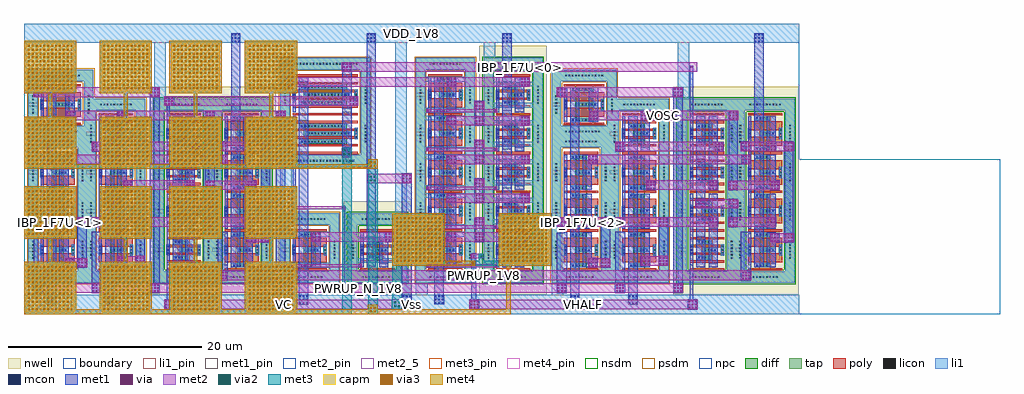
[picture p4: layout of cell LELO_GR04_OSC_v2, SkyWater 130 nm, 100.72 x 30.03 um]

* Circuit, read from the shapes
.subckt LELO_GR04_OSC_v2 IBP_1F7U<0> IBP_1F7U<1> IBP_1F7U<2> PWRUP_1V8 PWRUP_N_1V8 VC VDD_1V8 VHALF VOSC Vss
XM1 IBP_1F7U<1> PWRUP_N_1V8 Vss Vss sky130_fd_pr__nfet_01v8 w=0.96 l=0.94 m=2
XM2 IBP_1F7U<1> IBP_1F7U<1> Vss Vss sky130_fd_pr__nfet_01v8 w=0.96 l=0.94 m=2
XM3 LELO_GR04_COMP_9/JNWATR_NCH_2C5F0_25/D IBP_1F7U<1> Vss Vss sky130_fd_pr__nfet_01v8 w=0.96 l=0.94 m=2
XM4 LELO_GR04_INV_23/VIN PWRUP_N_1V8 Vss Vss sky130_fd_pr__nfet_01v8 w=1.6 l=0.94 m=2
XM5 LELO_GR04_COMP_9/JNWATR_NCH_2C5F0_10/D PWRUP_N_1V8 Vss Vss sky130_fd_pr__nfet_01v8 w=0.96 l=0.94 m=2
XM6 LELO_GR04_COMP_9/JNWATR_NCH_2C5F0_10/D LELO_GR04_COMP_9/JNWATR_NCH_2C5F0_10/D Vss Vss sky130_fd_pr__nfet_01v8 w=0.96 l=0.94 m=2
XM7 LELO_GR04_COMP_9/JNWATR_NCH_2C5F0_17/D LELO_GR04_COMP_9/JNWATR_NCH_2C5F0_10/D Vss Vss sky130_fd_pr__nfet_01v8 w=0.96 l=0.94 m=2
XM8 LELO_GR04_INV_23/VIN LELO_GR04_COMP_9/JNWATR_NCH_2C5F0_17/D Vss Vss sky130_fd_pr__nfet_01v8 w=0.96 l=0.22 m=2
XM9 LELO_GR04_INV_20/VIN LELO_GR04_INV_23/VIN Vss Vss sky130_fd_pr__nfet_01v8 w=0.96 l=0.94 m=2
XM10 IBP_1F7U<0> PWRUP_N_1V8 Vss Vss sky130_fd_pr__nfet_01v8 w=4.16 l=0.22 m=2
XM11 IBP_1F7U<0> JNWATR_NCH_12C1F2_6/G Vss Vss sky130_fd_pr__nfet_01v8 w=4.16 l=0.22 m=2
XM12 LELO_GR04_INV_17/VIN LELO_GR04_INV_20/VIN Vss Vss sky130_fd_pr__nfet_01v8 w=0.96 l=0.94 m=2
XM13 LELO_GR04_INV_18/VIN LELO_GR04_INV_17/VIN Vss Vss sky130_fd_pr__nfet_01v8 w=0.96 l=0.94 m=2
XM14 LELO_GR04_INV_11/VIN LELO_GR04_INV_18/VIN Vss Vss sky130_fd_pr__nfet_01v8 w=0.96 l=0.94 m=2
XM15 LELO_GR04_INV_22/VIN LELO_GR04_INV_11/VIN Vss Vss sky130_fd_pr__nfet_01v8 w=0.96 l=0.94 m=2
XM16 JNWATR_NCH_12C1F2_6/G LELO_GR04_INV_22/VIN Vss Vss sky130_fd_pr__nfet_01v8 w=0.96 l=0.94 m=2
XM17 IBP_1F7U<2> PWRUP_N_1V8 Vss Vss sky130_fd_pr__nfet_01v8 w=0.96 l=0.94 m=2
XM18 IBP_1F7U<2> IBP_1F7U<2> Vss Vss sky130_fd_pr__nfet_01v8 w=0.96 l=0.94 m=2
XM19 LELO_GR04_COMP_25/JNWATR_NCH_2C5F0_25/D IBP_1F7U<2> Vss Vss sky130_fd_pr__nfet_01v8 w=0.96 l=0.94 m=2
XM20 VOSC PWRUP_N_1V8 Vss Vss sky130_fd_pr__nfet_01v8 w=1.6 l=0.94 m=2
XM21 LELO_GR04_COMP_25/JNWATR_NCH_2C5F0_10/D PWRUP_N_1V8 Vss Vss sky130_fd_pr__nfet_01v8 w=0.96 l=0.94 m=2
XM22 LELO_GR04_COMP_25/JNWATR_NCH_2C5F0_10/D LELO_GR04_COMP_25/JNWATR_NCH_2C5F0_10/D Vss Vss sky130_fd_pr__nfet_01v8 w=0.96 l=0.94 m=2
XM23 LELO_GR04_COMP_25/JNWATR_NCH_2C5F0_17/D LELO_GR04_COMP_25/JNWATR_NCH_2C5F0_10/D Vss Vss sky130_fd_pr__nfet_01v8 w=0.96 l=0.94 m=2
XM24 VOSC LELO_GR04_COMP_25/JNWATR_NCH_2C5F0_17/D Vss Vss sky130_fd_pr__nfet_01v8 w=0.96 l=0.22 m=2
XM25 LELO_GR04_COMP_9/JNWATR_NCH_2C5F0_10/D VC LELO_GR04_COMP_9/JNWATR_PCH_2C5F0_15/D VDD_1V8 sky130_fd_pr__pfet_01v8 w=0.96 l=0.22 m=4
XM26 LELO_GR04_COMP_9/JNWATR_NCH_2C5F0_17/D IBP_1F7U<0> LELO_GR04_COMP_9/JNWATR_PCH_2C5F0_15/D VDD_1V8 sky130_fd_pr__pfet_01v8 w=0.96 l=0.22 m=4
XM27 LELO_GR04_COMP_9/JNWATR_NCH_2C5F0_25/D PWRUP_1V8 VDD_1V8 VDD_1V8 sky130_fd_pr__pfet_01v8 w=0.96 l=0.94 m=2
XM28 LELO_GR04_COMP_9/JNWATR_PCH_2C5F0_15/D LELO_GR04_COMP_9/JNWATR_NCH_2C5F0_25/D VDD_1V8 VDD_1V8 sky130_fd_pr__pfet_01v8 w=0.96 l=0.94 m=2
XM29 LELO_GR04_INV_23/VIN LELO_GR04_COMP_9/JNWATR_NCH_2C5F0_25/D VDD_1V8 VDD_1V8 sky130_fd_pr__pfet_01v8 w=0.96 l=0.94 m=2
XM30 LELO_GR04_COMP_9/JNWATR_NCH_2C5F0_25/D LELO_GR04_COMP_9/JNWATR_NCH_2C5F0_25/D VDD_1V8 VDD_1V8 sky130_fd_pr__pfet_01v8 w=0.96 l=0.94 m=2
XM31 LELO_GR04_INV_20/VIN LELO_GR04_INV_23/VIN VDD_1V8 VDD_1V8 sky130_fd_pr__pfet_01v8 w=0.96 l=0.22 m=2
XM32 LELO_GR04_INV_17/VIN LELO_GR04_INV_20/VIN VDD_1V8 VDD_1V8 sky130_fd_pr__pfet_01v8 w=0.96 l=0.22 m=2
XM33 LELO_GR04_INV_18/VIN LELO_GR04_INV_17/VIN VDD_1V8 VDD_1V8 sky130_fd_pr__pfet_01v8 w=0.96 l=0.22 m=2
XM34 LELO_GR04_INV_11/VIN LELO_GR04_INV_18/VIN VDD_1V8 VDD_1V8 sky130_fd_pr__pfet_01v8 w=0.96 l=0.22 m=2
XM35 LELO_GR04_INV_22/VIN LELO_GR04_INV_11/VIN VDD_1V8 VDD_1V8 sky130_fd_pr__pfet_01v8 w=0.96 l=0.22 m=2
XM36 JNWATR_NCH_12C1F2_6/G LELO_GR04_INV_22/VIN VDD_1V8 VDD_1V8 sky130_fd_pr__pfet_01v8 w=0.96 l=0.22 m=2
XM37 LELO_GR04_COMP_25/JNWATR_NCH_2C5F0_10/D VHALF LELO_GR04_COMP_25/JNWATR_PCH_2C5F0_15/D VDD_1V8 sky130_fd_pr__pfet_01v8 w=0.96 l=0.22 m=4
XM38 LELO_GR04_COMP_25/JNWATR_NCH_2C5F0_17/D IBP_1F7U<0> LELO_GR04_COMP_25/JNWATR_PCH_2C5F0_15/D VDD_1V8 sky130_fd_pr__pfet_01v8 w=0.96 l=0.22 m=4
XM39 LELO_GR04_COMP_25/JNWATR_NCH_2C5F0_25/D PWRUP_1V8 VDD_1V8 VDD_1V8 sky130_fd_pr__pfet_01v8 w=0.96 l=0.94 m=2
XM40 LELO_GR04_COMP_25/JNWATR_PCH_2C5F0_15/D LELO_GR04_COMP_25/JNWATR_NCH_2C5F0_25/D VDD_1V8 VDD_1V8 sky130_fd_pr__pfet_01v8 w=0.96 l=0.94 m=2
XM41 VOSC LELO_GR04_COMP_25/JNWATR_NCH_2C5F0_25/D VDD_1V8 VDD_1V8 sky130_fd_pr__pfet_01v8 w=0.96 l=0.94 m=2
XM42 LELO_GR04_COMP_25/JNWATR_NCH_2C5F0_25/D LELO_GR04_COMP_25/JNWATR_NCH_2C5F0_25/D VDD_1V8 VDD_1V8 sky130_fd_pr__pfet_01v8 w=0.96 l=0.94 m=2
XC43 Vss IBP_1F7U<0> sky130_fd_pr__cap_mim_m3_1 w=5 l=5 m=16
XC44 VHALF VC sky130_fd_pr__cap_mim_m3_1 w=5 l=5
XC45 Vss VHALF sky130_fd_pr__cap_mim_m3_1 w=5 l=5
.ends

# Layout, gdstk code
import gdstk
lib = gdstk.Library(unit=1e-6, precision=1e-09)
def R(c, l, rs):  # rectangles x0, y0, x1, y1
    for r in rs: c.add(gdstk.rectangle(r[:2], r[2:], *l))
def A(c, l, x, y, w, h, nx, ny, dx, dy):  # array of equal rectangles
    R(c, l, [(x+i*dx, y+j*dy, x+i*dx+w, y+j*dy+h) for i in range(nx) for j in range(ny)])
nwell = (64, 20)
diff = (65, 20)
tap = (65, 44)
poly = (66, 20)
licon = (66, 44)
li1_pin = (67, 16)
li1 = (67, 20)
mcon = (67, 44)
met1_pin = (68, 16)
met1 = (68, 20)
via = (68, 44)
met2_5 = (69, 5)
met2_pin = (69, 16)
met2 = (69, 20)
via2 = (69, 44)
met3_pin = (70, 16)
met3 = (70, 20)
via3 = (70, 44)
met4_pin = (71, 16)
met4 = (71, 20)
capm = (89, 44)
nsdm = (93, 44)
psdm = (94, 20)
npc = (95, 20)
boundary = (235, 4)

jnwatr_nch_2ctapbot = lib.new_cell('JNWATR_NCH_2CTAPBOT')
R(jnwatr_nch_2ctapbot, tap, [(-0.48,0.6,5.6,1.8), (-0.48,1.8,0.48,2.6), (4.64,1.8,5.6,2.6)])
A(jnwatr_nch_2ctapbot, licon, 0.955, 1.115, 0.17, 0.17, 9, 1, 0.34, 0)
R(jnwatr_nch_2ctapbot, li1, [(-0.48,0.6,5.6,1.8), (-0.48,1.8,0.48,2.6), (4.64,1.8,5.6,2.6)])
R(jnwatr_nch_2ctapbot, psdm, [(-0.605,0.475,5.725,1.925), (-0.605,1.925,0.605,2.725), (4.515,1.925,5.725,2.725)])
R(jnwatr_nch_2ctapbot, boundary, [(0,0,5.12,2.4)])

jnwatr_nch_2ctaptop = lib.new_cell('JNWATR_NCH_2CTAPTOP')
R(jnwatr_nch_2ctaptop, tap, [(-0.48,-0.2,0.48,0.6), (4.64,-0.2,5.6,0.6), (-0.48,0.6,5.6,1.8)])
A(jnwatr_nch_2ctaptop, licon, 0.945, 1.115, 0.17, 0.17, 10, 1, 0.34, 0)
R(jnwatr_nch_2ctaptop, li1, [(-0.48,-0.2,0.48,0.6), (4.64,-0.2,5.6,0.6), (-0.48,0.6,5.6,1.8)])
R(jnwatr_nch_2ctaptop, psdm, [(-0.605,-0.325,0.605,0.475), (4.515,-0.325,5.725,0.475), (-0.605,0.475,5.725,1.925)])
R(jnwatr_nch_2ctaptop, boundary, [(0,0,5.12,2.4)])

jnwatr_nch_12ctapbot = lib.new_cell('JNWATR_NCH_12CTAPBOT')
R(jnwatr_nch_12ctapbot, tap, [(-0.48,0.6,8.8,1.8), (-0.48,1.8,0.48,2.6), (7.84,1.8,8.8,2.6)])
A(jnwatr_nch_12ctapbot, licon, 0.855, 1.115, 0.17, 0.17, 19, 1, 0.34, 0)
R(jnwatr_nch_12ctapbot, li1, [(-0.48,0.6,8.8,1.8), (-0.48,1.8,0.48,2.6), (7.84,1.8,8.8,2.6)])
R(jnwatr_nch_12ctapbot, psdm, [(-0.605,0.475,8.925,1.925), (-0.605,1.925,0.605,2.725), (7.715,1.925,8.925,2.725)])
R(jnwatr_nch_12ctapbot, boundary, [(0,0,8.32,2.4)])

jnwatr_nch_12ctaptop = lib.new_cell('JNWATR_NCH_12CTAPTOP')
R(jnwatr_nch_12ctaptop, tap, [(-0.48,-0.2,0.48,0.6), (7.84,-0.2,8.8,0.6), (-0.48,0.6,8.8,1.8)])
A(jnwatr_nch_12ctaptop, licon, 0.845, 1.115, 0.17, 0.17, 20, 1, 0.34, 0)
R(jnwatr_nch_12ctaptop, li1, [(-0.48,-0.2,0.48,0.6), (7.84,-0.2,8.8,0.6), (-0.48,0.6,8.8,1.8)])
R(jnwatr_nch_12ctaptop, psdm, [(-0.605,-0.325,0.605,0.475), (7.715,-0.325,8.925,0.475), (-0.605,0.475,8.925,1.925)])
R(jnwatr_nch_12ctaptop, boundary, [(0,0,8.32,2.4)])

jnwatr_pch_2ctaptop = lib.new_cell('JNWATR_PCH_2CTAPTOP')
R(jnwatr_pch_2ctaptop, nwell, [(-0.92,-0.64,6.04,3.04)])
R(jnwatr_pch_2ctaptop, tap, [(-0.48,-0.2,0.48,0.6), (4.64,-0.2,5.6,0.6), (-0.48,0.6,5.6,1.8)])
A(jnwatr_pch_2ctaptop, licon, 0.945, 1.115, 0.17, 0.17, 10, 1, 0.34, 0)
R(jnwatr_pch_2ctaptop, li1, [(-0.48,-0.2,0.48,0.6), (4.64,-0.2,5.6,0.6), (-0.48,0.6,5.6,1.8)])
R(jnwatr_pch_2ctaptop, nsdm, [(-0.605,-0.325,0.605,0.475), (4.515,-0.325,5.725,0.475), (-0.605,0.475,5.725,1.925)])
R(jnwatr_pch_2ctaptop, boundary, [(0,0,5.12,2.4)])

jnwatr_nch_12c1f2 = lib.new_cell('JNWATR_NCH_12C1F2')
R(jnwatr_nch_12c1f2, diff, [(2.08,1,6.24,3)])
R(jnwatr_nch_12c1f2, tap, [(-0.48,-0.2,0.48,4.2), (7.84,-0.2,8.8,4.2)])
A(jnwatr_nch_12c1f2, poly, 0.8, -0.11, 6.72, 0.22, 1, 6, 0, 0.8)
R(jnwatr_nch_12c1f2, poly, [(0.8,1.4,1.12,1.49), (7.2,1.4,7.52,1.49), (0.8,1.71,1.12,2.29), (7.2,1.71,7.52,2.29), (0.8,2.51,1.12,2.6), (7.2,2.51,7.52,2.6)])
A(jnwatr_nch_12c1f2, licon, -0.085, 1.065, 0.17, 0.17, 1, 6, 0, 0.34)
A(jnwatr_nch_12c1f2, licon, 8.235, 1.065, 0.17, 0.17, 1, 6, 0, 0.34)
A(jnwatr_nch_12c1f2, licon, 2.375, 1.115, 0.17, 0.17, 11, 3, 0.34, 0.8)
A(jnwatr_nch_12c1f2, licon, 0.87, 1.575, 0.17, 0.17, 1, 3, 0, 0.34)
A(jnwatr_nch_12c1f2, licon, 7.27, 1.575, 0.17, 0.17, 1, 3, 0, 0.34)
R(jnwatr_nch_12c1f2, li1_pin, [(-0.48,1.8,0.48,2.2)])
R(jnwatr_nch_12c1f2, li1, [(-0.48,-0.2,0.48,4.2), (7.84,-0.2,8.8,4.2), (1.44,1,6.24,1.4), (0.8,1.4,1.12,2.6), (7.2,1.4,7.52,2.6), (2.08,1.8,6.88,2.2), (1.44,2.6,6.24,3)])
A(jnwatr_nch_12c1f2, mcon, 0.87, 1.555, 0.17, 0.17, 1, 3, 0, 0.36)
R(jnwatr_nch_12c1f2, mcon, [(1.655,1.115,1.825,1.285), (2.015,1.115,2.185,1.285), (6.135,1.915,6.305,2.085), (6.495,1.915,6.665,2.085), (1.655,2.715,1.825,2.885), (2.015,2.715,2.185,2.885)])
R(jnwatr_nch_12c1f2, met1_pin, [(5.92,0.2,6.88,0.6), (0.8,1.8,1.12,2.2), (1.44,3,2.4,3.4)])
R(jnwatr_nch_12c1f2, met1, [(0.8,0.2,1.12,3.8), (1.44,0.2,2.4,3.8), (5.92,0.2,6.88,3.8)])
R(jnwatr_nch_12c1f2, nsdm, [(1.955,0.875,6.365,3.125)])
R(jnwatr_nch_12c1f2, psdm, [(-0.605,-0.325,0.605,4.325), (7.715,-0.325,8.925,4.325)])
R(jnwatr_nch_12c1f2, npc, [(0.77,1.475,1.14,2.525), (7.17,1.475,7.54,2.525)])
R(jnwatr_nch_12c1f2, boundary, [(0,0,8.32,4)])
jnwatr_nch_12c1f2.add(gdstk.Label('B', (0,2), layer=67, texttype=5))
jnwatr_nch_12c1f2.add(gdstk.Label('G', (0.96,2), layer=68, texttype=5))
jnwatr_nch_12c1f2.add(gdstk.Label('S', (1.92,3.2), layer=68, texttype=5))
jnwatr_nch_12c1f2.add(gdstk.Label('D', (6.4,0.4), layer=68, texttype=5))

jnwatr_nch_4ctapbot = lib.new_cell('JNWATR_NCH_4CTAPBOT')
R(jnwatr_nch_4ctapbot, tap, [(-0.48,0.6,6.24,1.8), (-0.48,1.8,0.48,2.6), (5.28,1.8,6.24,2.6)])
A(jnwatr_nch_4ctapbot, licon, 0.935, 1.115, 0.17, 0.17, 11, 1, 0.34, 0)
R(jnwatr_nch_4ctapbot, li1, [(-0.48,0.6,6.24,1.8), (-0.48,1.8,0.48,2.6), (5.28,1.8,6.24,2.6)])
R(jnwatr_nch_4ctapbot, psdm, [(-0.605,0.475,6.365,1.925), (-0.605,1.925,0.605,2.725), (5.155,1.925,6.365,2.725)])
R(jnwatr_nch_4ctapbot, boundary, [(0,0,5.76,2.4)])

jnwatr_pch_2ctapbot = lib.new_cell('JNWATR_PCH_2CTAPBOT')
R(jnwatr_pch_2ctapbot, nwell, [(-0.92,-0.64,6.04,3.04)])
R(jnwatr_pch_2ctapbot, tap, [(-0.48,0.6,5.6,1.8), (-0.48,1.8,0.48,2.6), (4.64,1.8,5.6,2.6)])
A(jnwatr_pch_2ctapbot, licon, 0.955, 1.115, 0.17, 0.17, 9, 1, 0.34, 0)
R(jnwatr_pch_2ctapbot, li1, [(-0.48,0.6,5.6,1.8), (-0.48,1.8,0.48,2.6), (4.64,1.8,5.6,2.6)])
R(jnwatr_pch_2ctapbot, nsdm, [(-0.605,0.475,5.725,1.925), (-0.605,1.925,0.605,2.725), (4.515,1.925,5.725,2.725)])
R(jnwatr_pch_2ctapbot, boundary, [(0,0,5.12,2.4)])

jnwatr_nch_2c5f0 = lib.new_cell('JNWATR_NCH_2C5F0')
R(jnwatr_nch_2c5f0, diff, [(2.08,0.2,3.04,3.8)])
R(jnwatr_nch_2c5f0, tap, [(-0.48,-0.2,0.48,4.2), (4.64,-0.2,5.6,4.2)])
R(jnwatr_nch_2c5f0, poly, [(0.8,-0.11,4.32,0.11), (0.8,0.73,4.32,1.67), (0.8,1.67,1.12,2.33), (4,1.67,4.32,2.33), (0.8,2.33,4.32,3.27), (0.8,3.89,4.32,4.11)])
A(jnwatr_nch_2c5f0, licon, 2.305, 0.315, 0.17, 0.17, 1, 3, 0, 1.6)
A(jnwatr_nch_2c5f0, licon, 2.645, 0.315, 0.17, 0.17, 1, 3, 0, 1.6)
A(jnwatr_nch_2c5f0, licon, -0.085, 1.065, 0.17, 0.17, 1, 6, 0, 0.34)
A(jnwatr_nch_2c5f0, licon, 5.035, 1.065, 0.17, 0.17, 1, 6, 0, 0.34)
A(jnwatr_nch_2c5f0, licon, 0.87, 1.575, 0.17, 0.17, 1, 3, 0, 0.34)
A(jnwatr_nch_2c5f0, licon, 4.07, 1.575, 0.17, 0.17, 1, 3, 0, 0.34)
R(jnwatr_nch_2c5f0, li1_pin, [(-0.48,1.8,0.48,2.2)])
R(jnwatr_nch_2c5f0, li1, [(-0.48,-0.2,0.48,4.2), (4.64,-0.2,5.6,4.2), (1.44,0.2,3.04,0.6), (0.8,1.4,1.12,2.6), (4,1.4,4.32,2.6), (2.08,1.8,3.68,2.2), (1.44,3.4,3.04,3.8)])
A(jnwatr_nch_2c5f0, mcon, 0.87, 1.555, 0.17, 0.17, 1, 3, 0, 0.36)
R(jnwatr_nch_2c5f0, mcon, [(1.655,0.315,1.825,0.485), (2.015,0.315,2.185,0.485), (2.935,1.915,3.105,2.085), (3.295,1.915,3.465,2.085), (1.655,3.515,1.825,3.685), (2.015,3.515,2.185,3.685)])
R(jnwatr_nch_2c5f0, met1_pin, [(2.72,0.2,3.68,0.6), (0.8,1.8,1.12,2.2), (1.44,3,2.4,3.4)])
R(jnwatr_nch_2c5f0, met1, [(0.8,0.2,1.12,3.8), (1.44,0.2,2.4,3.8), (2.72,0.2,3.68,3.8)])
R(jnwatr_nch_2c5f0, nsdm, [(1.955,0.075,3.165,3.925)])
R(jnwatr_nch_2c5f0, psdm, [(-0.605,-0.325,0.605,4.325), (4.515,-0.325,5.725,4.325)])
R(jnwatr_nch_2c5f0, npc, [(0.77,1.475,1.14,2.525), (3.97,1.475,4.34,2.525)])
R(jnwatr_nch_2c5f0, boundary, [(0,0,5.12,4)])
jnwatr_nch_2c5f0.add(gdstk.Label('B', (0,2), layer=67, texttype=5))
jnwatr_nch_2c5f0.add(gdstk.Label('G', (0.96,2), layer=68, texttype=5))
jnwatr_nch_2c5f0.add(gdstk.Label('S', (1.92,3.2), layer=68, texttype=5))
jnwatr_nch_2c5f0.add(gdstk.Label('D', (3.2,0.4), layer=68, texttype=5))

jnwatr_nch_4c5f0 = lib.new_cell('JNWATR_NCH_4C5F0')
R(jnwatr_nch_4c5f0, diff, [(2.08,0.2,3.68,3.8)])
R(jnwatr_nch_4c5f0, tap, [(-0.48,-0.2,0.48,4.2), (5.28,-0.2,6.24,4.2)])
R(jnwatr_nch_4c5f0, poly, [(0.8,-0.11,4.96,0.11), (0.8,0.73,4.96,1.67), (0.8,1.67,1.12,2.33), (4.64,1.67,4.96,2.33), (0.8,2.33,4.96,3.27), (0.8,3.89,4.96,4.11)])
A(jnwatr_nch_4c5f0, licon, 2.285, 0.315, 0.17, 0.17, 4, 3, 0.34, 1.6)
A(jnwatr_nch_4c5f0, licon, -0.085, 1.065, 0.17, 0.17, 1, 6, 0, 0.34)
A(jnwatr_nch_4c5f0, licon, 5.675, 1.065, 0.17, 0.17, 1, 6, 0, 0.34)
A(jnwatr_nch_4c5f0, licon, 0.87, 1.575, 0.17, 0.17, 1, 3, 0, 0.34)
A(jnwatr_nch_4c5f0, licon, 4.71, 1.575, 0.17, 0.17, 1, 3, 0, 0.34)
R(jnwatr_nch_4c5f0, li1_pin, [(-0.48,1.8,0.48,2.2)])
R(jnwatr_nch_4c5f0, li1, [(-0.48,-0.2,0.48,4.2), (5.28,-0.2,6.24,4.2), (1.44,0.2,3.68,0.6), (0.8,1.4,1.12,2.6), (4.64,1.4,4.96,2.6), (2.08,1.8,4.32,2.2), (1.44,3.4,3.68,3.8)])
A(jnwatr_nch_4c5f0, mcon, 0.87, 1.555, 0.17, 0.17, 1, 3, 0, 0.36)
R(jnwatr_nch_4c5f0, mcon, [(1.655,0.315,1.825,0.485), (2.015,0.315,2.185,0.485), (3.575,1.915,3.745,2.085), (3.935,1.915,4.105,2.085), (1.655,3.515,1.825,3.685), (2.015,3.515,2.185,3.685)])
R(jnwatr_nch_4c5f0, met1_pin, [(3.36,0.2,4.32,0.6), (0.8,1.8,1.12,2.2), (1.44,3,2.4,3.4)])
R(jnwatr_nch_4c5f0, met1, [(0.8,0.2,1.12,3.8), (1.44,0.2,2.4,3.8), (3.36,0.2,4.32,3.8)])
R(jnwatr_nch_4c5f0, nsdm, [(1.955,0.075,3.805,3.925)])
R(jnwatr_nch_4c5f0, psdm, [(-0.605,-0.325,0.605,4.325), (5.155,-0.325,6.365,4.325)])
R(jnwatr_nch_4c5f0, npc, [(0.77,1.475,1.14,2.525), (4.61,1.475,4.98,2.525)])
R(jnwatr_nch_4c5f0, boundary, [(0,0,5.76,4)])
jnwatr_nch_4c5f0.add(gdstk.Label('B', (0,2), layer=67, texttype=5))
jnwatr_nch_4c5f0.add(gdstk.Label('G', (0.96,2), layer=68, texttype=5))
jnwatr_nch_4c5f0.add(gdstk.Label('S', (1.92,3.2), layer=68, texttype=5))
jnwatr_nch_4c5f0.add(gdstk.Label('D', (3.84,0.4), layer=68, texttype=5))

jnwatr_nch_4ctaptop = lib.new_cell('JNWATR_NCH_4CTAPTOP')
R(jnwatr_nch_4ctaptop, tap, [(-0.48,-0.2,0.48,0.6), (5.28,-0.2,6.24,0.6), (-0.48,0.6,6.24,1.8)])
A(jnwatr_nch_4ctaptop, licon, 0.925, 1.115, 0.17, 0.17, 12, 1, 0.34, 0)
R(jnwatr_nch_4ctaptop, li1, [(-0.48,-0.2,0.48,0.6), (5.28,-0.2,6.24,0.6), (-0.48,0.6,6.24,1.8)])
R(jnwatr_nch_4ctaptop, psdm, [(-0.605,-0.325,0.605,0.475), (5.155,-0.325,6.365,0.475), (-0.605,0.475,6.365,1.925)])
R(jnwatr_nch_4ctaptop, boundary, [(0,0,5.76,2.4)])

jnwatr_pch_2c5f0 = lib.new_cell('JNWATR_PCH_2C5F0')
R(jnwatr_pch_2c5f0, nwell, [(-0.92,-0.64,6.04,4.64)])
R(jnwatr_pch_2c5f0, diff, [(2.08,0.2,3.04,3.8)])
R(jnwatr_pch_2c5f0, tap, [(-0.48,-0.2,0.48,4.2), (4.64,-0.2,5.6,4.2)])
R(jnwatr_pch_2c5f0, poly, [(0.8,-0.11,4.32,0.11), (0.8,0.73,4.32,1.67), (0.8,1.67,1.12,2.33), (4,1.67,4.32,2.33), (0.8,2.33,4.32,3.27), (0.8,3.89,4.32,4.11)])
A(jnwatr_pch_2c5f0, licon, 2.305, 0.315, 0.17, 0.17, 1, 3, 0, 1.6)
A(jnwatr_pch_2c5f0, licon, 2.645, 0.315, 0.17, 0.17, 1, 3, 0, 1.6)
A(jnwatr_pch_2c5f0, licon, -0.085, 1.065, 0.17, 0.17, 1, 6, 0, 0.34)
A(jnwatr_pch_2c5f0, licon, 5.035, 1.065, 0.17, 0.17, 1, 6, 0, 0.34)
A(jnwatr_pch_2c5f0, licon, 0.87, 1.575, 0.17, 0.17, 1, 3, 0, 0.34)
A(jnwatr_pch_2c5f0, licon, 4.07, 1.575, 0.17, 0.17, 1, 3, 0, 0.34)
R(jnwatr_pch_2c5f0, li1_pin, [(-0.48,1.8,0.48,2.2)])
R(jnwatr_pch_2c5f0, li1, [(-0.48,-0.2,0.48,4.2), (4.64,-0.2,5.6,4.2), (1.44,0.2,3.04,0.6), (0.8,1.4,1.12,2.6), (4,1.4,4.32,2.6), (2.08,1.8,3.68,2.2), (1.44,3.4,3.04,3.8)])
A(jnwatr_pch_2c5f0, mcon, 0.87, 1.555, 0.17, 0.17, 1, 3, 0, 0.36)
R(jnwatr_pch_2c5f0, mcon, [(1.655,0.315,1.825,0.485), (2.015,0.315,2.185,0.485), (2.935,1.915,3.105,2.085), (3.295,1.915,3.465,2.085), (1.655,3.515,1.825,3.685), (2.015,3.515,2.185,3.685)])
R(jnwatr_pch_2c5f0, met1_pin, [(2.72,0.2,3.68,0.6), (0.8,1.8,1.12,2.2), (1.44,3,2.4,3.4)])
R(jnwatr_pch_2c5f0, met1, [(0.8,0.2,1.12,3.8), (1.44,0.2,2.4,3.8), (2.72,0.2,3.68,3.8)])
R(jnwatr_pch_2c5f0, nsdm, [(-0.605,-0.325,0.605,4.325), (4.515,-0.325,5.725,4.325)])
R(jnwatr_pch_2c5f0, psdm, [(1.955,0.075,3.165,3.925)])
R(jnwatr_pch_2c5f0, npc, [(0.77,1.475,1.14,2.525), (3.97,1.475,4.34,2.525)])
R(jnwatr_pch_2c5f0, boundary, [(0,0,5.12,4)])
jnwatr_pch_2c5f0.add(gdstk.Label('B', (0,2), layer=67, texttype=5))
jnwatr_pch_2c5f0.add(gdstk.Label('G', (0.96,2), layer=68, texttype=5))
jnwatr_pch_2c5f0.add(gdstk.Label('S', (1.92,3.2), layer=68, texttype=5))
jnwatr_pch_2c5f0.add(gdstk.Label('D', (3.2,0.4), layer=68, texttype=5))

jnwatr_pch_2c1f2 = lib.new_cell('JNWATR_PCH_2C1F2')
R(jnwatr_pch_2c1f2, nwell, [(-0.92,-0.64,6.04,4.64)])
R(jnwatr_pch_2c1f2, diff, [(2.08,1,3.04,3)])
R(jnwatr_pch_2c1f2, tap, [(-0.48,-0.2,0.48,4.2), (4.64,-0.2,5.6,4.2)])
A(jnwatr_pch_2c1f2, poly, 0.8, -0.11, 3.52, 0.22, 1, 6, 0, 0.8)
R(jnwatr_pch_2c1f2, poly, [(0.8,1.4,1.12,1.49), (4,1.4,4.32,1.49), (0.8,1.71,1.12,2.29), (4,1.71,4.32,2.29), (0.8,2.51,1.12,2.6), (4,2.51,4.32,2.6)])
A(jnwatr_pch_2c1f2, licon, -0.085, 1.065, 0.17, 0.17, 1, 6, 0, 0.34)
A(jnwatr_pch_2c1f2, licon, 5.035, 1.065, 0.17, 0.17, 1, 6, 0, 0.34)
A(jnwatr_pch_2c1f2, licon, 2.305, 1.115, 0.17, 0.17, 1, 3, 0, 0.8)
A(jnwatr_pch_2c1f2, licon, 2.645, 1.115, 0.17, 0.17, 1, 3, 0, 0.8)
A(jnwatr_pch_2c1f2, licon, 0.87, 1.575, 0.17, 0.17, 1, 3, 0, 0.34)
A(jnwatr_pch_2c1f2, licon, 4.07, 1.575, 0.17, 0.17, 1, 3, 0, 0.34)
R(jnwatr_pch_2c1f2, li1_pin, [(-0.48,1.8,0.48,2.2)])
R(jnwatr_pch_2c1f2, li1, [(-0.48,-0.2,0.48,4.2), (4.64,-0.2,5.6,4.2), (1.44,1,3.04,1.4), (0.8,1.4,1.12,2.6), (4,1.4,4.32,2.6), (2.08,1.8,3.68,2.2), (1.44,2.6,3.04,3)])
A(jnwatr_pch_2c1f2, mcon, 0.87, 1.555, 0.17, 0.17, 1, 3, 0, 0.36)
R(jnwatr_pch_2c1f2, mcon, [(1.655,1.115,1.825,1.285), (2.015,1.115,2.185,1.285), (2.935,1.915,3.105,2.085), (3.295,1.915,3.465,2.085), (1.655,2.715,1.825,2.885), (2.015,2.715,2.185,2.885)])
R(jnwatr_pch_2c1f2, met1_pin, [(2.72,0.2,3.68,0.6), (0.8,1.8,1.12,2.2), (1.44,3,2.4,3.4)])
R(jnwatr_pch_2c1f2, met1, [(0.8,0.2,1.12,3.8), (1.44,0.2,2.4,3.8), (2.72,0.2,3.68,3.8)])
R(jnwatr_pch_2c1f2, nsdm, [(-0.605,-0.325,0.605,4.325), (4.515,-0.325,5.725,4.325)])
R(jnwatr_pch_2c1f2, psdm, [(1.955,0.875,3.165,3.125)])
R(jnwatr_pch_2c1f2, npc, [(0.77,1.475,1.14,2.525), (3.97,1.475,4.34,2.525)])
R(jnwatr_pch_2c1f2, boundary, [(0,0,5.12,4)])
jnwatr_pch_2c1f2.add(gdstk.Label('B', (0,2), layer=67, texttype=5))
jnwatr_pch_2c1f2.add(gdstk.Label('G', (0.96,2), layer=68, texttype=5))
jnwatr_pch_2c1f2.add(gdstk.Label('S', (1.92,3.2), layer=68, texttype=5))
jnwatr_pch_2c1f2.add(gdstk.Label('D', (3.2,0.4), layer=68, texttype=5))

jnwatr_nch_2c1f2 = lib.new_cell('JNWATR_NCH_2C1F2')
R(jnwatr_nch_2c1f2, diff, [(2.08,1,3.04,3)])
R(jnwatr_nch_2c1f2, tap, [(-0.48,-0.2,0.48,4.2), (4.64,-0.2,5.6,4.2)])
A(jnwatr_nch_2c1f2, poly, 0.8, -0.11, 3.52, 0.22, 1, 6, 0, 0.8)
R(jnwatr_nch_2c1f2, poly, [(0.8,1.4,1.12,1.49), (4,1.4,4.32,1.49), (0.8,1.71,1.12,2.29), (4,1.71,4.32,2.29), (0.8,2.51,1.12,2.6), (4,2.51,4.32,2.6)])
A(jnwatr_nch_2c1f2, licon, -0.085, 1.065, 0.17, 0.17, 1, 6, 0, 0.34)
A(jnwatr_nch_2c1f2, licon, 5.035, 1.065, 0.17, 0.17, 1, 6, 0, 0.34)
A(jnwatr_nch_2c1f2, licon, 2.305, 1.115, 0.17, 0.17, 1, 3, 0, 0.8)
A(jnwatr_nch_2c1f2, licon, 2.645, 1.115, 0.17, 0.17, 1, 3, 0, 0.8)
A(jnwatr_nch_2c1f2, licon, 0.87, 1.575, 0.17, 0.17, 1, 3, 0, 0.34)
A(jnwatr_nch_2c1f2, licon, 4.07, 1.575, 0.17, 0.17, 1, 3, 0, 0.34)
R(jnwatr_nch_2c1f2, li1_pin, [(-0.48,1.8,0.48,2.2)])
R(jnwatr_nch_2c1f2, li1, [(-0.48,-0.2,0.48,4.2), (4.64,-0.2,5.6,4.2), (1.44,1,3.04,1.4), (0.8,1.4,1.12,2.6), (4,1.4,4.32,2.6), (2.08,1.8,3.68,2.2), (1.44,2.6,3.04,3)])
A(jnwatr_nch_2c1f2, mcon, 0.87, 1.555, 0.17, 0.17, 1, 3, 0, 0.36)
R(jnwatr_nch_2c1f2, mcon, [(1.655,1.115,1.825,1.285), (2.015,1.115,2.185,1.285), (2.935,1.915,3.105,2.085), (3.295,1.915,3.465,2.085), (1.655,2.715,1.825,2.885), (2.015,2.715,2.185,2.885)])
R(jnwatr_nch_2c1f2, met1_pin, [(2.72,0.2,3.68,0.6), (0.8,1.8,1.12,2.2), (1.44,3,2.4,3.4)])
R(jnwatr_nch_2c1f2, met1, [(0.8,0.2,1.12,3.8), (1.44,0.2,2.4,3.8), (2.72,0.2,3.68,3.8)])
R(jnwatr_nch_2c1f2, nsdm, [(1.955,0.875,3.165,3.125)])
R(jnwatr_nch_2c1f2, psdm, [(-0.605,-0.325,0.605,4.325), (4.515,-0.325,5.725,4.325)])
R(jnwatr_nch_2c1f2, npc, [(0.77,1.475,1.14,2.525), (3.97,1.475,4.34,2.525)])
R(jnwatr_nch_2c1f2, boundary, [(0,0,5.12,4)])
jnwatr_nch_2c1f2.add(gdstk.Label('B', (0,2), layer=67, texttype=5))
jnwatr_nch_2c1f2.add(gdstk.Label('G', (0.96,2), layer=68, texttype=5))
jnwatr_nch_2c1f2.add(gdstk.Label('S', (1.92,3.2), layer=68, texttype=5))
jnwatr_nch_2c1f2.add(gdstk.Label('D', (3.2,0.4), layer=68, texttype=5))

lelo_gr04_comp = lib.new_cell('LELO_GR04_COMP')
R(lelo_gr04_comp, li1_pin, [(0,0,26,2), (0,28,26,30)])
R(lelo_gr04_comp, li1, [(0,0,26,2), (0.44,2,1.64,4.44), (13.44,21.04,14.64,28), (0,28,26,30)])
A(lelo_gr04_comp, mcon, 2.395, 1.055, 0.17, 0.17, 3, 3, 0.36, 0.36)
A(lelo_gr04_comp, mcon, 8.395, 1.055, 0.17, 0.17, 3, 3, 0.36, 0.36)
A(lelo_gr04_comp, mcon, 21.395, 28.05, 0.17, 0.17, 3, 3, 0.36, 0.36)
R(lelo_gr04_comp, met1_pin, [(14.72,5.04,15.04,12.44), (20.72,5.04,21.04,8.36), (14.72,13.04,15.04,20.44)])
R(lelo_gr04_comp, met1, [(2.36,0.99,3.32,22.98), (8.36,0.99,9.32,19.98), (1,2.17,2,8.4), (13,2.17,14,22.4), (6.97,2.2,8.03,3.2), (7,3.2,8,8.5), (5.52,4.81,6.48,10.01), (3.64,4.84,5.21,5.8), (16.64,4.84,17.6,9.02), (9.61,5.02,10.63,5.98), (11.49,5.02,12.51,5.98), (14.72,5.04,15.04,12.44), (20.72,5.04,21.04,8.36), (21.365,5.205,22.32,29.005), (11.52,5.98,12.48,10.01), (15.36,6.12,16.32,10.89), (23.02,7.39,23.98,8.41), (24.42,7.39,25.38,17.83), (1.72,8.84,2.04,8.99), (7.72,8.84,8.04,8.99), (1.02,8.99,2.04,10.01), (7.02,8.99,8.04,10.01), (18.72,8.99,19.68,11.91), (3.64,9.02,4.6,9.98), (9.64,9.02,10.6,9.98), (16.61,9.02,17.63,9.98), (22.61,9.02,23.63,9.98), (20.72,9.04,21.04,15.45), (1.72,10.01,2.04,16.36), (7.72,10.01,8.04,16.16), (15.32,10.89,16.32,11.91), (15.36,11.91,16.32,20.08), (18.72,12.79,19.68,21.01), (23.02,12.79,23.98,13.81), (9.64,12.84,11.21,13.8), (16.61,12.84,17.63,13.8), (14.72,13.04,15.04,20.44), (16.64,13.8,17.6,16.82), (20.02,15.45,21.04,16.47), (3.64,15.48,5.21,16.44), (20.72,16.47,21.04,16.81), (7.02,16.79,7.98,17.81), (20.02,16.81,21.04,17.83), (16.64,16.82,18.21,17.78), (22.61,16.84,23.63,17.8), (16.64,17.78,17.6,17.98), (20.72,17.83,21.04,20.26), (9.64,19.48,10.6,21.01), (4.32,19.99,5.28,21.01), (1,22.37,2,23.43), (12.97,22.4,14.03,23.4)])
A(lelo_gr04_comp, via, 1.105, 2.305, 0.15, 0.15, 3, 3, 0.32, 0.32)
A(lelo_gr04_comp, via, 7.105, 2.305, 0.15, 0.15, 3, 3, 0.32, 0.32)
A(lelo_gr04_comp, via, 13.105, 2.305, 0.15, 0.15, 3, 3, 0.32, 0.32)
A(lelo_gr04_comp, via, 4.305, 4.925, 0.15, 0.15, 3, 3, 0.32, 0.32)
A(lelo_gr04_comp, via, 5.605, 4.925, 0.15, 0.15, 3, 3, 0.32, 0.32)
A(lelo_gr04_comp, via, 9.725, 5.105, 0.15, 0.15, 3, 3, 0.32, 0.32)
A(lelo_gr04_comp, via, 11.605, 5.105, 0.15, 0.15, 3, 3, 0.32, 0.32)
A(lelo_gr04_comp, via, 23.105, 7.505, 0.15, 0.15, 3, 3, 0.32, 0.32)
A(lelo_gr04_comp, via, 24.505, 7.505, 0.15, 0.15, 3, 3, 0.32, 0.32)
A(lelo_gr04_comp, via, 1.105, 9.105, 0.15, 0.15, 3, 3, 0.32, 0.32)
A(lelo_gr04_comp, via, 3.725, 9.105, 0.15, 0.15, 3, 3, 0.32, 0.32)
A(lelo_gr04_comp, via, 5.605, 9.105, 0.15, 0.15, 3, 3, 0.32, 0.32)
A(lelo_gr04_comp, via, 7.105, 9.105, 0.15, 0.15, 3, 3, 0.32, 0.32)
A(lelo_gr04_comp, via, 9.725, 9.105, 0.15, 0.15, 3, 3, 0.32, 0.32)
A(lelo_gr04_comp, via, 11.605, 9.105, 0.15, 0.15, 3, 3, 0.32, 0.32)
A(lelo_gr04_comp, via, 16.725, 9.105, 0.15, 0.15, 3, 3, 0.32, 0.32)
A(lelo_gr04_comp, via, 18.805, 9.105, 0.15, 0.15, 3, 3, 0.32, 0.32)
A(lelo_gr04_comp, via, 22.725, 9.105, 0.15, 0.15, 3, 3, 0.32, 0.32)
A(lelo_gr04_comp, via, 15.405, 11.005, 0.15, 0.15, 3, 3, 0.32, 0.32)
A(lelo_gr04_comp, via, 18.805, 11.005, 0.15, 0.15, 3, 3, 0.32, 0.32)
A(lelo_gr04_comp, via, 18.805, 12.905, 0.15, 0.15, 3, 3, 0.32, 0.32)
A(lelo_gr04_comp, via, 23.105, 12.905, 0.15, 0.15, 3, 3, 0.32, 0.32)
A(lelo_gr04_comp, via, 10.305, 12.925, 0.15, 0.15, 3, 3, 0.32, 0.32)
A(lelo_gr04_comp, via, 16.725, 12.925, 0.15, 0.15, 3, 3, 0.32, 0.32)
A(lelo_gr04_comp, via, 4.305, 15.565, 0.15, 0.15, 3, 3, 0.32, 0.32)
A(lelo_gr04_comp, via, 20.105, 15.565, 0.15, 0.15, 3, 3, 0.32, 0.32)
A(lelo_gr04_comp, via, 7.105, 16.905, 0.15, 0.15, 3, 3, 0.32, 0.32)
A(lelo_gr04_comp, via, 17.305, 16.905, 0.15, 0.15, 3, 3, 0.32, 0.32)
A(lelo_gr04_comp, via, 20.105, 16.925, 0.15, 0.15, 3, 3, 0.32, 0.32)
A(lelo_gr04_comp, via, 22.725, 16.925, 0.15, 0.15, 3, 3, 0.32, 0.32)
A(lelo_gr04_comp, via, 24.505, 16.925, 0.15, 0.15, 3, 3, 0.32, 0.32)
A(lelo_gr04_comp, via, 4.405, 20.105, 0.15, 0.15, 3, 3, 0.32, 0.32)
A(lelo_gr04_comp, via, 9.725, 20.105, 0.15, 0.15, 3, 3, 0.32, 0.32)
A(lelo_gr04_comp, via, 18.805, 20.105, 0.15, 0.15, 3, 3, 0.32, 0.32)
A(lelo_gr04_comp, via, 1.105, 22.505, 0.15, 0.15, 3, 3, 0.32, 0.32)
A(lelo_gr04_comp, via, 13.105, 22.505, 0.15, 0.15, 3, 3, 0.32, 0.32)
R(lelo_gr04_comp, met2_pin, [(2,2.2,7,3.2), (1.98,9.02,3.64,9.98), (5.28,20.02,9.64,20.98)])
R(lelo_gr04_comp, met2, [(7,2.17,8,2.2), (0.97,2.2,14.03,3.2), (7,3.2,8,3.23), (4.22,4.81,5.18,4.84), (4.22,4.84,6.51,5.8), (9.64,4.99,10.6,5.02), (11.52,4.99,12.48,5.02), (9.64,5.02,12.48,5.98), (4.22,5.8,5.18,5.83), (9.64,5.98,10.6,6.01), (11.52,5.98,12.48,6.01), (22.99,7.42,25.41,8.38), (16.64,8.99,17.6,9.02), (22.64,8.99,23.6,9.02), (0.99,9.02,6.51,9.98), (6.99,9.02,17.6,9.98), (18.69,9.02,23.6,9.98), (16.64,9.98,17.6,10.01), (22.64,9.98,23.6,10.01), (15.29,10.92,19.71,11.88), (10.22,12.81,11.18,12.84), (16.64,12.81,17.6,12.84), (18.69,12.82,24.01,13.78), (10.22,12.84,17.6,13.8), (10.22,13.8,11.18,13.83), (16.64,13.8,17.6,13.83), (4.22,15.45,5.18,15.48), (4.22,15.48,21.01,16.44), (4.22,16.44,5.18,16.47), (17.22,16.79,18.18,16.82), (22.64,16.81,23.6,16.84), (6.99,16.82,18.18,17.78), (19.99,16.84,25.41,17.8), (17.22,17.78,18.18,17.81), (22.64,17.8,23.6,17.83), (4.29,20.02,19.71,20.98), (13,22.37,14,22.4), (0.97,22.4,14,23.4), (13,23.4,14,23.43)])
R(lelo_gr04_comp, nsdm, [(2.875,8.565,4.085,8.715), (8.875,8.565,10.085,8.715), (2.875,12.565,4.085,12.715), (8.875,12.565,10.085,12.715)])
A(lelo_gr04_comp, psdm, 21.875, 8.565, 1.21, 0.15, 1, 3, 0, 4)
R(lelo_gr04_comp, boundary, [(0,0,46.72,16)])
lelo_gr04_comp.add(gdstk.Reference(jnwatr_nch_2ctapbot, (6.92,2.64)))
lelo_gr04_comp.add(gdstk.Reference(jnwatr_nch_2ctaptop, (0.92,16.64)))
lelo_gr04_comp.add(gdstk.Reference(jnwatr_nch_4ctapbot, (0.92,17.64)))
lelo_gr04_comp.add(gdstk.Reference(jnwatr_pch_2ctapbot, (13.92,2.64)))
lelo_gr04_comp.add(gdstk.Reference(jnwatr_pch_2ctapbot, (19.92,2.64)))
lelo_gr04_comp.add(gdstk.Reference(jnwatr_pch_2ctaptop, (19.92,20.44)))
lelo_gr04_comp.add(gdstk.Reference(jnwatr_pch_2ctaptop, (13.92,20.44)))
lelo_gr04_comp.add(gdstk.Reference(jnwatr_nch_2c5f0, (6.92,4.64)))
lelo_gr04_comp.add(gdstk.Reference(jnwatr_nch_4c5f0, (0.92,19.64)))
lelo_gr04_comp.add(gdstk.Reference(jnwatr_nch_2ctapbot, (0.92,2.64)))
lelo_gr04_comp.add(gdstk.Reference(jnwatr_nch_2c5f0, (6.92,8.64)))
lelo_gr04_comp.add(gdstk.Reference(jnwatr_nch_4ctaptop, (0.92,23.44)))
lelo_gr04_comp.add(gdstk.Reference(jnwatr_pch_2c5f0, (19.92,16.64)))
lelo_gr04_comp.add(gdstk.Reference(jnwatr_pch_2c5f0, (19.92,12.64)))
lelo_gr04_comp.add(gdstk.Reference(jnwatr_nch_2ctaptop, (6.92,20.44)))
lelo_gr04_comp.add(gdstk.Reference(jnwatr_pch_2c5f0, (19.92,8.64)))
lelo_gr04_comp.add(gdstk.Reference(jnwatr_pch_2c5f0, (19.92,4.64)))
lelo_gr04_comp.add(gdstk.Reference(jnwatr_nch_2c5f0, (6.92,12.64)))
lelo_gr04_comp.add(gdstk.Reference(jnwatr_pch_2c1f2, (13.92,12.64)))
lelo_gr04_comp.add(gdstk.Reference(jnwatr_pch_2c1f2, (13.92,8.64)))
lelo_gr04_comp.add(gdstk.Reference(jnwatr_nch_2c5f0, (0.92,4.64)))
lelo_gr04_comp.add(gdstk.Reference(jnwatr_pch_2c1f2, (13.92,4.64)))
lelo_gr04_comp.add(gdstk.Reference(jnwatr_nch_2c5f0, (0.92,8.64)))
lelo_gr04_comp.add(gdstk.Reference(jnwatr_nch_2c1f2, (6.92,16.64)))
lelo_gr04_comp.add(gdstk.Reference(jnwatr_pch_2c1f2, (13.92,16.64)))
lelo_gr04_comp.add(gdstk.Reference(jnwatr_nch_2c5f0, (0.92,12.64)))
lelo_gr04_comp.add(gdstk.Label('VSS', (13,1), layer=67, texttype=5))
lelo_gr04_comp.add(gdstk.Label('VDD_1V8', (13,29), layer=67, texttype=5))
lelo_gr04_comp.add(gdstk.Label('PWRUP_1V8', (20.88,6.7), layer=68, texttype=5))
lelo_gr04_comp.add(gdstk.Label('VIN', (14.88,8.74), layer=68, texttype=5))
lelo_gr04_comp.add(gdstk.Label('VIP', (14.88,16.74), layer=68, texttype=5))
lelo_gr04_comp.add(gdstk.Label('PWRUP_N_1V8', (4.5,2.7), layer=69, texttype=5))
lelo_gr04_comp.add(gdstk.Label('VO', (7.46,20.5), layer=69, texttype=5))
lelo_gr04_comp.add(gdstk.Label('IBP_1F7U', (2.81,9.5), layer=69, texttype=5))

jnwtr_capx1 = lib.new_cell('JNWTR_CAPX1')
R(jnwtr_capx1, met3_pin, [(0,0,5.4,0.5)])
R(jnwtr_capx1, met3, [(0,0,5.4,5.4)])
A(jnwtr_capx1, via3, 0.4, 0.4, 0.2, 0.2, 12, 12, 0.4, 0.4)
R(jnwtr_capx1, met4_pin, [(0,0,5.4,0.5)])
R(jnwtr_capx1, met4, [(0,0,5.4,5.4)])
R(jnwtr_capx1, capm, [(0.2,0.2,5.2,5.2)])
R(jnwtr_capx1, boundary, [(0,0,5.4,5.4)])
jnwtr_capx1.add(gdstk.Label('A', (2.7,0.25), layer=70, texttype=5))
jnwtr_capx1.add(gdstk.Label('B', (2.7,0.25), layer=71, texttype=5))

jnwtr_capx4 = lib.new_cell('JNWTR_CAPX4')
R(jnwtr_capx4, met3_pin, [(2.4,0,7.8,0.5)])
R(jnwtr_capx4, met3, [(2.4,0,15.6,0.5), (4.9,0.5,5.3,8.3), (12.7,0.5,13.1,8.3)])
R(jnwtr_capx4, met4_pin, [(2.4,0,7.8,0.5)])
R(jnwtr_capx4, met4, [(2.4,0,15.6,0.5), (4.9,0.5,5.3,8.3), (12.7,0.5,13.1,8.3)])
R(jnwtr_capx4, boundary, [(2.4,0,15.6,13.2)])
jnwtr_capx4.add(gdstk.Reference(jnwtr_capx1, (10.2,0)))
jnwtr_capx4.add(gdstk.Reference(jnwtr_capx1, (2.4,7.8)))
jnwtr_capx4.add(gdstk.Reference(jnwtr_capx1, (10.2,7.8)))
jnwtr_capx4.add(gdstk.Reference(jnwtr_capx1, (2.4,0)))
jnwtr_capx4.add(gdstk.Label('A', (5.1,0.25), layer=70, texttype=5))
jnwtr_capx4.add(gdstk.Label('B', (5.1,0.25), layer=71, texttype=5))

lelo_gr04_inv = lib.new_cell('LELO_GR04_INV')
R(lelo_gr04_inv, li1, [(1.3,0.8,5.6,1.3), (8.3,1.3,12.6,1.8), (8.3,3.5,12.6,4), (1.3,4,5.6,4.5)])
R(lelo_gr04_inv, met1_pin, [(9.36,1.02,10.32,3.98), (2.36,1.32,3.32,4.08)])
R(lelo_gr04_inv, met1, [(1.54,0.81,1.86,1.19), (8.51,0.84,9.04,1.16), (9.36,1.02,10.32,3.98), (2.36,1.32,3.32,4.08), (3.62,3.45,4.58,4.47), (10.64,3.48,12.21,4.44)])
A(lelo_gr04_inv, via, 3.705, 3.565, 0.15, 0.15, 3, 3, 0.32, 0.32)
A(lelo_gr04_inv, via, 11.305, 3.565, 0.15, 0.15, 3, 3, 0.32, 0.32)
R(lelo_gr04_inv, via, [(1.625,0.925,1.775,1.075), (8.625,0.925,8.775,1.075)])
R(lelo_gr04_inv, met2_pin, [(1.86,0.84,8.54,1.16), (4.58,3.48,11.22,4.44)])
R(lelo_gr04_inv, met2, [(8.54,0.81,8.86,0.84), (1.51,0.84,8.86,1.16), (8.54,1.16,8.86,1.19), (11.22,3.45,12.18,3.48), (3.59,3.48,12.18,4.44), (11.22,4.44,12.18,4.47)])
R(lelo_gr04_inv, boundary, [(0,0,10.24,4)])
lelo_gr04_inv.add(gdstk.Reference(jnwatr_nch_2c5f0, (0.92,0.64)))
lelo_gr04_inv.add(gdstk.Reference(jnwatr_pch_2c1f2, (7.92,0.64)))
lelo_gr04_inv.add(gdstk.Label('VDD_1V8', (9.84,2.5), layer=68, texttype=5))
lelo_gr04_inv.add(gdstk.Label('VSS', (2.84,2.7), layer=68, texttype=5))
lelo_gr04_inv.add(gdstk.Label('VIN', (5.2,1), layer=69, texttype=5))
lelo_gr04_inv.add(gdstk.Label('VOUT', (7.9,3.96), layer=69, texttype=5))

lelo_gr04_osc_v2 = lib.new_cell('LELO_GR04_OSC_v2')
R(lelo_gr04_osc_v2, li1_pin, [(26,0,54,2), (26,28,54,30)])
R(lelo_gr04_osc_v2, li1, [(0,0,80,2), (26.44,2,27.64,4.44), (40.44,2,41.64,4.44), (38.32,9.24,39.52,28), (26.44,9.4,27.64,16.44), (47.44,25.24,48.64,28), (0,28,80,30)])
A(lelo_gr04_osc_v2, mcon, 28.395, 1.055, 0.17, 0.17, 3, 3, 0.36, 0.36)
A(lelo_gr04_osc_v2, mcon, 39.055, 1.055, 0.17, 0.17, 3, 3, 0.36, 0.36)
A(lelo_gr04_osc_v2, mcon, 42.395, 1.055, 0.17, 0.17, 3, 3, 0.36, 0.36)
A(lelo_gr04_osc_v2, mcon, 35.395, 28.055, 0.17, 0.17, 3, 3, 0.36, 0.36)
A(lelo_gr04_osc_v2, mcon, 49.395, 28.055, 0.17, 0.17, 3, 3, 0.36, 0.36)
R(lelo_gr04_osc_v2, met1, [(46.15,0.45,46.65,0.47), (14.5,0.47,15.5,1.53), (46,0.47,47,1.53), (68.5,0.47,69.5,1.53), (39,0.97,40,14.53), (28.36,0.99,29.32,24.28), (42.33,1.02,43.35,1.98), (14.72,1.53,15.04,5.66), (46.15,1.53,46.65,6.28), (68.72,1.53,69.04,5.66), (42.36,1.98,43.32,23.98), (32.81,2.34,33.19,2.66), (32.84,2.66,33.16,10.84), (20,3.45,21.04,3.5), (73.98,3.45,75.02,8.52), (19.97,3.5,21.04,4.5), (20,4.5,21.04,8.52), (26.02,4.52,26.98,21.01), (35.36,4.84,36.32,29.01), (49.36,4.84,50.32,29.01), (41.02,7.45,41.98,8.47), (46.52,7.45,47.48,10.01), (27.72,10.81,28.04,17.16), (32.81,10.84,33.19,11.16), (46.49,11.48,47.51,12.44), (46.52,12.44,47.48,14.01), (46.52,15.45,47.48,18.01), (32.84,16.19,33.8,21.52), (14.72,19.34,15.04,21.52), (68.72,19.34,69.04,25.34), (46.52,19.45,47.48,22.01), (14.46,21.52,15.48,22.48), (32.84,21.52,34.51,22.48), (32.84,22.48,33.8,26.01), (27.02,23.45,27.98,24.47), (68.69,25.34,69.07,25.66)])
A(lelo_gr04_osc_v2, via, 14.605, 0.605, 0.15, 0.15, 3, 3, 0.32, 0.32)
A(lelo_gr04_osc_v2, via, 46.105, 0.605, 0.15, 0.15, 3, 3, 0.32, 0.32)
A(lelo_gr04_osc_v2, via, 68.605, 0.605, 0.15, 0.15, 3, 3, 0.32, 0.32)
A(lelo_gr04_osc_v2, via, 20.125, 3.605, 0.15, 0.15, 3, 3, 0.32, 0.32)
A(lelo_gr04_osc_v2, via, 74.105, 3.605, 0.15, 0.15, 3, 3, 0.32, 0.32)
A(lelo_gr04_osc_v2, via, 41.105, 7.565, 0.15, 0.15, 3, 3, 0.32, 0.32)
A(lelo_gr04_osc_v2, via, 46.605, 7.565, 0.15, 0.15, 3, 3, 0.32, 0.32)
A(lelo_gr04_osc_v2, via, 46.605, 9.105, 0.15, 0.15, 3, 3, 0.32, 0.32)
A(lelo_gr04_osc_v2, via, 46.605, 11.565, 0.15, 0.15, 3, 3, 0.32, 0.32)
A(lelo_gr04_osc_v2, via, 46.605, 13.105, 0.15, 0.15, 3, 3, 0.32, 0.32)
A(lelo_gr04_osc_v2, via, 39.105, 13.605, 0.15, 0.15, 3, 3, 0.32, 0.32)
A(lelo_gr04_osc_v2, via, 46.605, 15.565, 0.15, 0.15, 3, 3, 0.32, 0.32)
A(lelo_gr04_osc_v2, via, 32.925, 16.305, 0.15, 0.15, 3, 3, 0.32, 0.32)
A(lelo_gr04_osc_v2, via, 46.605, 17.105, 0.15, 0.15, 3, 3, 0.32, 0.32)
A(lelo_gr04_osc_v2, via, 46.605, 19.565, 0.15, 0.15, 3, 3, 0.32, 0.32)
A(lelo_gr04_osc_v2, via, 26.105, 20.105, 0.15, 0.15, 3, 3, 0.32, 0.32)
A(lelo_gr04_osc_v2, via, 46.605, 21.105, 0.15, 0.15, 3, 3, 0.32, 0.32)
A(lelo_gr04_osc_v2, via, 14.575, 21.605, 0.15, 0.15, 3, 3, 0.32, 0.32)
A(lelo_gr04_osc_v2, via, 33.605, 21.605, 0.15, 0.15, 3, 3, 0.32, 0.32)
A(lelo_gr04_osc_v2, via, 27.105, 23.565, 0.15, 0.15, 3, 3, 0.32, 0.32)
A(lelo_gr04_osc_v2, via, 32.925, 25.105, 0.15, 0.15, 3, 3, 0.32, 0.32)
R(lelo_gr04_osc_v2, via, [(32.925,2.425,33.075,2.575), (26.425,4.925,26.575,5.075), (46.325,5.925,46.475,6.075), (27.805,10.925,27.955,11.075), (32.925,10.925,33.075,11.075), (68.805,25.425,68.955,25.575)])
R(lelo_gr04_osc_v2, met2_5, [(47,0.5,68.5,1.5)])
R(lelo_gr04_osc_v2, met2_pin, [(15.5,0.5,38,1.5), (1,2.2,68,3.2), (21.04,3.48,73.98,4.52), (1.02,9.02,6.48,9.98), (55.16,9.02,60.375,9.98), (58.52,20.02,73.48,20.98), (33.8,25.02,68.72,25.98)])
R(lelo_gr04_osc_v2, met2, [(14.47,0.5,39,1.5), (45.97,0.5,69.53,1.5), (38,1.5,39,1.545), (1,2.2,68,3.2), (20,3.47,21,3.48), (19.97,3.48,75.05,4.52), (20,4.52,21,4.53), (26.31,4.84,28.18,5.16), (46.12,5.75,47.45,5.775), (46.12,5.775,47.47,6.225), (46.12,6.225,47.45,6.25), (36.02,7.48,42.01,8.44), (46.49,7.48,47.51,8.44), (1.02,9.02,6.48,9.98), (46.49,9.02,47.51,9.98), (55.16,9.02,60.375,9.98), (32.84,10.81,33.16,10.84), (27.69,10.84,33.16,11.16), (32.84,11.16,33.16,11.19), (46.52,11.45,47.48,12.47), (46.49,13.02,47.51,13.98), (35.5,13.5,40.03,13.525), (35.48,13.525,40.03,14.475), (35.5,14.475,40.03,14.5), (46.49,15.48,47.51,16.44), (32.84,16.15,33.8,16.22), (32.81,16.22,33.83,17.18), (46.49,17.02,47.51,17.98), (46.49,19.48,47.51,20.44), (5.52,20.02,27.01,20.98), (58.52,20.02,73.48,20.98), (46.49,21.02,47.51,21.98), (14.49,21.49,15.45,21.52), (33.52,21.49,34.48,21.52), (14.49,21.52,34.48,22.48), (14.49,22.48,15.45,22.51), (33.52,22.48,34.48,22.51), (26.99,23.48,45.98,24.44), (32.81,25.02,69.48,25.98)])
R(lelo_gr04_osc_v2, via2, [(38.2,0.725,38.4,0.925), (38.6,0.725,38.8,0.925), (38.2,1.125,38.4,1.325), (38.6,1.125,38.8,1.325), (47.1,5.9,47.3,6.1), (35.7,13.7,35.9,13.9), (36.1,13.7,36.3,13.9), (35.7,14.1,35.9,14.3), (36.1,14.1,36.3,14.3), (33.02,16.4,33.22,16.6), (33.42,16.4,33.62,16.6), (33.02,16.8,33.22,17), (33.42,16.8,33.62,17)])
R(lelo_gr04_osc_v2, met3, [(35.5,-0.03,36.5,15.005), (7.05,0,33.8,0.5), (32.84,0.5,33.8,15), (37.975,0.525,39.025,1.525), (38,1.525,39,5.5), (46,5,49.5,5.5), (46.95,5.5,47.45,6.25), (6.75,15,33.8,15.5), (35.475,15.005,36.525,15.995), (32.84,15.5,33.8,17.18), (35.5,15.995,36.5,16)])
R(lelo_gr04_osc_v2, via3, [(35.7,0.195,35.9,0.395), (36.1,0.195,36.3,0.395), (35.7,0.595,35.9,0.795), (36.1,0.595,36.3,0.795), (46.2,5.15,46.4,5.35), (35.7,15.2,35.9,15.4), (36.1,15.2,36.3,15.4), (35.7,15.6,35.9,15.8), (36.1,15.6,36.3,15.8)])
R(lelo_gr04_osc_v2, met4, [(35.495,-0.005,36.505,0), (6.25,0,50.25,0.5), (35.495,0.5,36.505,0.995), (49.75,0.5,50.25,5.25), (46.045,4.995,46.555,5), (42.85,5,46.555,5.5), (46.045,5.5,46.555,5.505), (6.25,15,36.5,15.5), (35.5,15.5,36.5,16)])
A(lelo_gr04_osc_v2, nsdm, 42.875, 8.565, 1.21, 0.15, 1, 4, 0, 4)
R(lelo_gr04_osc_v2, boundary, [(0,0,80,30)])
lelo_gr04_osc_v2.add(gdstk.Reference(jnwatr_nch_2ctapbot, (26.92,2.64)))
lelo_gr04_osc_v2.add(gdstk.Reference(jnwatr_nch_2ctaptop, (40.92,24.64)))
lelo_gr04_osc_v2.add(gdstk.Reference(jnwatr_nch_2ctapbot, (40.92,2.64)))
lelo_gr04_osc_v2.add(gdstk.Reference(jnwatr_nch_12ctapbot, (26.92,14.64)))
lelo_gr04_osc_v2.add(gdstk.Reference(jnwatr_nch_12ctaptop, (26.92,24.64)))
lelo_gr04_osc_v2.add(gdstk.Reference(jnwatr_pch_2ctaptop, (33.92,8.64)))
lelo_gr04_osc_v2.add(gdstk.Reference(jnwatr_nch_12c1f2, (26.92,20.64)))
lelo_gr04_osc_v2.add(gdstk.Reference(jnwatr_nch_2ctaptop, (26.92,8.64)))
lelo_gr04_osc_v2.add(gdstk.Reference(jnwatr_nch_12c1f2, (26.92,16.64)))
lelo_gr04_osc_v2.add(gdstk.Reference(lelo_gr04_comp, (0,0)))
lelo_gr04_osc_v2.add(gdstk.Reference(jnwtr_capx4, (-2.4,15)))
lelo_gr04_osc_v2.add(gdstk.Reference(lelo_gr04_inv, (40,16)))
lelo_gr04_osc_v2.add(gdstk.Reference(jnwtr_capx1, (49,5)))
lelo_gr04_osc_v2.add(gdstk.Reference(jnwtr_capx4, (12.6,0)))
lelo_gr04_osc_v2.add(gdstk.Reference(jnwtr_capx1, (38,5)))
lelo_gr04_osc_v2.add(gdstk.Reference(jnwtr_capx4, (12.6,15)))
lelo_gr04_osc_v2.add(gdstk.Reference(jnwatr_pch_2ctapbot, (47.92,2.64)))
lelo_gr04_osc_v2.add(gdstk.Reference(lelo_gr04_inv, (40,8)))
lelo_gr04_osc_v2.add(gdstk.Reference(lelo_gr04_inv, (40,12)))
lelo_gr04_osc_v2.add(gdstk.Reference(jnwatr_pch_2ctapbot, (33.92,2.64)))
lelo_gr04_osc_v2.add(gdstk.Reference(lelo_gr04_inv, (40,4)))
lelo_gr04_osc_v2.add(gdstk.Reference(jnwatr_pch_2ctaptop, (47.92,24.64)))
lelo_gr04_osc_v2.add(gdstk.Reference(lelo_gr04_inv, (40,20)))
lelo_gr04_osc_v2.add(gdstk.Reference(lelo_gr04_inv, (26,4)))
lelo_gr04_osc_v2.add(gdstk.Reference(jnwtr_capx4, (-2.4,0)))
lelo_gr04_osc_v2.add(gdstk.Reference(lelo_gr04_comp, (54,0)))
lelo_gr04_osc_v2.add(gdstk.Label('Vss', (40,1), layer=67, texttype=5))
lelo_gr04_osc_v2.add(gdstk.Label('VDD_1V8', (40,29), layer=67, texttype=5))
lelo_gr04_osc_v2.add(gdstk.Label('VC', (26.75,1), layer=69, texttype=5))
lelo_gr04_osc_v2.add(gdstk.Label('VOSC', (66,20.5), layer=69, texttype=5))
lelo_gr04_osc_v2.add(gdstk.Label('IBP_1F7U<1>', (3.75,9.5), layer=69, texttype=5))
lelo_gr04_osc_v2.add(gdstk.Label('IBP_1F7U<0>', (51.26,25.5), layer=69, texttype=5))
lelo_gr04_osc_v2.add(gdstk.Label('IBP_1F7U<2>', (57.767,9.5), layer=69, texttype=5))
lelo_gr04_osc_v2.add(gdstk.Label('PWRUP_N_1V8', (34.5,2.7), layer=69, texttype=5))
lelo_gr04_osc_v2.add(gdstk.Label('PWRUP_1V8', (47.51,4), layer=69, texttype=5))
lelo_gr04_osc_v2.add(gdstk.Label('VHALF', (57.75,1), layer=69, texttype=5))

lib.write_gds('LELO_GR04_OSC_v2.gds')
